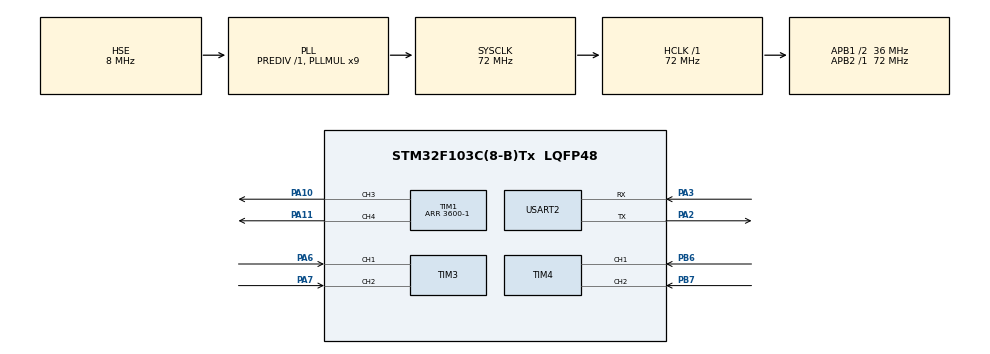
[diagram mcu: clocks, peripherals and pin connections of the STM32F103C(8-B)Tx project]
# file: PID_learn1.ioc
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Mcu.Family=STM32F1
Mcu.Name=STM32F103C(8-B)Tx
Mcu.Package=LQFP48
NVIC.PriorityGroup=NVIC_PRIORITYGROUP_4
PA10.Signal=S_TIM1_CH3
PA11.Signal=S_TIM1_CH4
PA13.Mode=Serial_Wire
PA13.Signal=SYS_JTMS-SWDIO
PA14.Mode=Serial_Wire
PA14.Signal=SYS_JTCK-SWCLK
PA2.Mode=Asynchronous
PA2.Signal=USART2_TX
PA3.Mode=Asynchronous
PA3.Signal=USART2_RX
PA6.Signal=S_TIM3_CH1
PA7.Signal=S_TIM3_CH2
PB6.Signal=S_TIM4_CH1
PB7.Signal=S_TIM4_CH2
PD0-OSC_IN.Mode=HSE-External-Oscillator
PD0-OSC_IN.Signal=RCC_OSC_IN
PD1-OSC_OUT.Mode=HSE-External-Oscillator
PD1-OSC_OUT.Signal=RCC_OSC_OUT
ProjectManager.HeapSize=0x200
ProjectManager.StackSize=0x400
ProjectManager.TargetToolchain=MDK-ARM V5.32
RCC.AHBFreq_Value=72000000
RCC.APB1CLKDivider=RCC_HCLK_DIV2
RCC.APB1Freq_Value=36000000
RCC.APB1TimFreq_Value=72000000
RCC.APB2Freq_Value=72000000
RCC.APB2TimFreq_Value=72000000
RCC.HCLKFreq_Value=72000000
RCC.PLLMUL=RCC_PLL_MUL9
RCC.PLLSourceVirtual=RCC_PLLSOURCE_HSE
RCC.SYSCLKFreq_VALUE=72000000
RCC.SYSCLKSource=RCC_SYSCLKSOURCE_PLLCLK
RCC.USBFreq_Value=72000000
SH.S_TIM1_CH3.0=TIM1_CH3,PWM Generation3 CH3
SH.S_TIM1_CH4.0=TIM1_CH4,PWM Generation4 CH4
SH.S_TIM3_CH1.0=TIM3_CH1,Encoder_Interface
SH.S_TIM3_CH2.0=TIM3_CH2,Encoder_Interface
SH.S_TIM4_CH1.0=TIM4_CH1,Encoder_Interface
SH.S_TIM4_CH2.0=TIM4_CH2,Encoder_Interface
TIM1.Channel-PWM\ Generation3\ CH3=TIM_CHANNEL_3
TIM1.Channel-PWM\ Generation4\ CH4=TIM_CHANNEL_4
TIM1.Period=3600-1
TIM3.IC1Filter=15
TIM3.IC2Filter=15
TIM4.EncoderMode=TIM_ENCODERMODE_TI12
TIM4.IC1Filter=15
TIM4.IC2Filter=15
USART2.VirtualMode=VM_ASYNC
board=custom

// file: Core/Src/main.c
/* USER CODE BEGIN Header */
/**
  ******************************************************************************
  * @file           : main.c
  * @brief          : Main program body
  ******************************************************************************
  * @attention
  *
  * <h2><center>&copy; Copyright (c) 2026 STMicroelectronics.
  * All rights reserved.</center></h2>
  *
  * This software component is licensed by ST under BSD 3-Clause license,
  * the "License"; You may not use this file except in compliance with the
  * License. You may obtain a copy of the License at:
  *                        opensource.org/licenses/BSD-3-Clause
  *
  ******************************************************************************
  */
/* USER CODE END Header */
#include "main.h"
#include "tim.h"
#include "usart.h"
#include "gpio.h"

/* USER CODE BEGIN Includes */
#include "PID.h"
#include <stdio.h>
#include "encoder_xuanniu.h"
#include "VOFA.h"
/* USER CODE END Includes */

void SystemClock_Config(void);

int main(void)
{
  /* USER CODE BEGIN 1 */
  uint32_t last_tick = 0;    /* 采样节拍基准，必须定义在 while 之外 */

  /* USER CODE END 1 */

  /* MCU Configuration--------------------------------------------------------*/

  /* Reset of all peripherals, Initializes the Flash interface and the Systick. */
  HAL_Init();

  /* Configure the system clock */
  SystemClock_Config();

  /* Initialize all configured peripherals */
  MX_GPIO_Init();
  MX_USART2_UART_Init();
  MX_TIM1_Init();
  MX_TIM3_Init();
  MX_TIM4_Init();
  /* USER CODE BEGIN 2 */

  PID_init();
  HAL_TIM_Encoder_Start(&htim3,TIM_CHANNEL_ALL);
  HAL_TIM_Encoder_Start(&htim4,TIM_CHANNEL_ALL);
  HAL_TIM_PWM_Start(&htim1,TIM_CHANNEL_3);
  HAL_TIM_PWM_Start(&htim1,TIM_CHANNEL_4);

  /* USER CODE END 2 */

  /* Infinite loop */
  /* USER CODE BEGIN WHILE */
  while (1)
  {
      PID_Change();

      uint32_t now = HAL_GetTick();
      if ((now - last_tick) >= dt)          /* 固定 10ms 采样，100Hz ，U指unsigned类型*/
      {
          last_tick += dt;
          if ((now - last_tick) >= dt)
          {
              last_tick = now;               /* 落后超过一拍就重新对齐，不补发 */
          }
          PID_realize();

      }
    /* USER CODE END WHILE */

  }
}

void SystemClock_Config(void)
{
  RCC_OscInitTypeDef RCC_OscInitStruct = {0};
  RCC_ClkInitTypeDef RCC_ClkInitStruct = {0};

  /** Initializes the RCC Oscillators according to the specified parameters
  * in the RCC_OscInitTypeDef structure.
  */
  RCC_OscInitStruct.OscillatorType = RCC_OSCILLATORTYPE_HSE;
  RCC_OscInitStruct.HSEState = RCC_HSE_ON;
  RCC_OscInitStruct.HSEPredivValue = RCC_HSE_PREDIV_DIV1;
  RCC_OscInitStruct.HSIState = RCC_HSI_ON;
  RCC_OscInitStruct.PLL.PLLState = RCC_PLL_ON;
  RCC_OscInitStruct.PLL.PLLSource = RCC_PLLSOURCE_HSE;
  RCC_OscInitStruct.PLL.PLLMUL = RCC_PLL_MUL9;
  if (HAL_RCC_OscConfig(&RCC_OscInitStruct) != HAL_OK)
  {
    Error_Handler();
  }
  /** Initializes the CPU, AHB and APB buses clocks
  */
  RCC_ClkInitStruct.ClockType = RCC_CLOCKTYPE_HCLK|RCC_CLOCKTYPE_SYSCLK
                              |RCC_CLOCKTYPE_PCLK1|RCC_CLOCKTYPE_PCLK2;
  RCC_ClkInitStruct.SYSCLKSource = RCC_SYSCLKSOURCE_PLLCLK;
  RCC_ClkInitStruct.AHBCLKDivider = RCC_SYSCLK_DIV1;
  RCC_ClkInitStruct.APB1CLKDivider = RCC_HCLK_DIV2;
  RCC_ClkInitStruct.APB2CLKDivider = RCC_HCLK_DIV1;

  if (HAL_RCC_ClockConfig(&RCC_ClkInitStruct, FLASH_LATENCY_2) != HAL_OK)
  {
    Error_Handler();
  }
}

/* USER CODE BEGIN 4 */
// printf 重定向：printf 每输出一个字符就调用一次 fputc，
// 这里把字符从 USART2 发出去。没有这个函数，printf 的输出无处可去。

/* USER CODE END 4 */

void Error_Handler(void)
{
  __disable_irq();
  while (1)
  {
  }
}

/************************ (C) COPYRIGHT STMicroelectronics *****END OF FILE****/
